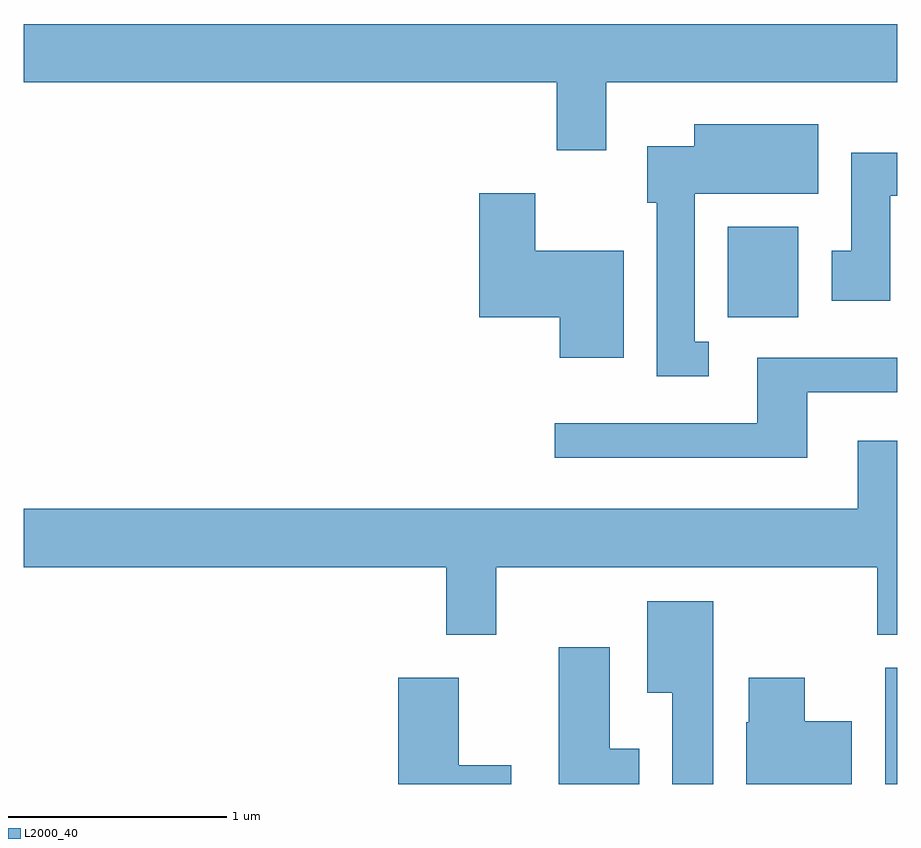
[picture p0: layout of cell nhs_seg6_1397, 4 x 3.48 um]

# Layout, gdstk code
import gdstk
lib = gdstk.Library(unit=1e-6, precision=1e-09)
def R(c, l, rs):  # rectangles x0, y0, x1, y1
    for r in rs: c.add(gdstk.rectangle(r[:2], r[2:], *l))
def P(c, l, *ps):  # polygons
    for p in ps: c.add(gdstk.Polygon(p, *l))
L2000_40 = (2000, 40)

nhs_seg6_1397 = lib.new_cell('nhs_seg6_1397')
R(nhs_seg6_1397, L2000_40, [(231.556,1540.162,231.611,1540.694), (230.836,1542.301,231.159,1542.714)])
P(nhs_seg6_1397, L2000_40, [(230.279,1543.376),(231.611,1543.376),(231.611,1543.644),(227.611,1543.644),(227.611,1543.376),(230.051,1543.376),(230.051,1543.066),(230.279,1543.066)],
  [(230.748,1542.189),(230.684,1542.189),(230.684,1542.866),(231.249,1542.866),(231.249,1543.184),(230.681,1543.184),(230.681,1543.084),(230.466,1543.084),(230.466,1542.826),(230.511,1542.826),(230.511,1542.031),(230.748,1542.031)],
  [(231.579,1542.856),(231.611,1542.856),(231.611,1543.054),(231.401,1543.054),(231.401,1542.604),(231.311,1542.604),(231.311,1542.376),(231.579,1542.376)],
  [(230.359,1542.604),(229.954,1542.604),(229.954,1542.869),(229.696,1542.869),(229.696,1542.301),(230.066,1542.301),(230.066,1542.116),(230.359,1542.116)],
  [(231.199,1541.956),(231.611,1541.956),(231.611,1542.114),(230.971,1542.114),(230.971,1541.814),(230.043,1541.814),(230.043,1541.656),(231.199,1541.656)],
  [(229.774,1541.156),(231.521,1541.156),(231.521,1540.846),(231.611,1540.846),(231.611,1541.734),(231.431,1541.734),(231.431,1541.424),(227.611,1541.424),(227.611,1541.156),(229.546,1541.156),(229.546,1540.846),(229.774,1540.846)],
  [(230.769,1540.999),(230.466,1540.999),(230.466,1540.581),(230.581,1540.581),(230.581,1540.162),(230.769,1540.162)],
  [(230.429,1540.324),(230.294,1540.324),(230.294,1540.789),(230.061,1540.789),(230.061,1540.162),(230.429,1540.162)],
  [(229.844,1540.249),(229.604,1540.249),(229.604,1540.649),(229.326,1540.649),(229.326,1540.162),(229.844,1540.162)],
  [(231.404,1540.449),(231.189,1540.449),(231.189,1540.649),(230.931,1540.649),(230.931,1540.445),(230.921,1540.445),(230.921,1540.162),(231.404,1540.162)])

lib.write_gds('nhs_seg6_1397.gds')
